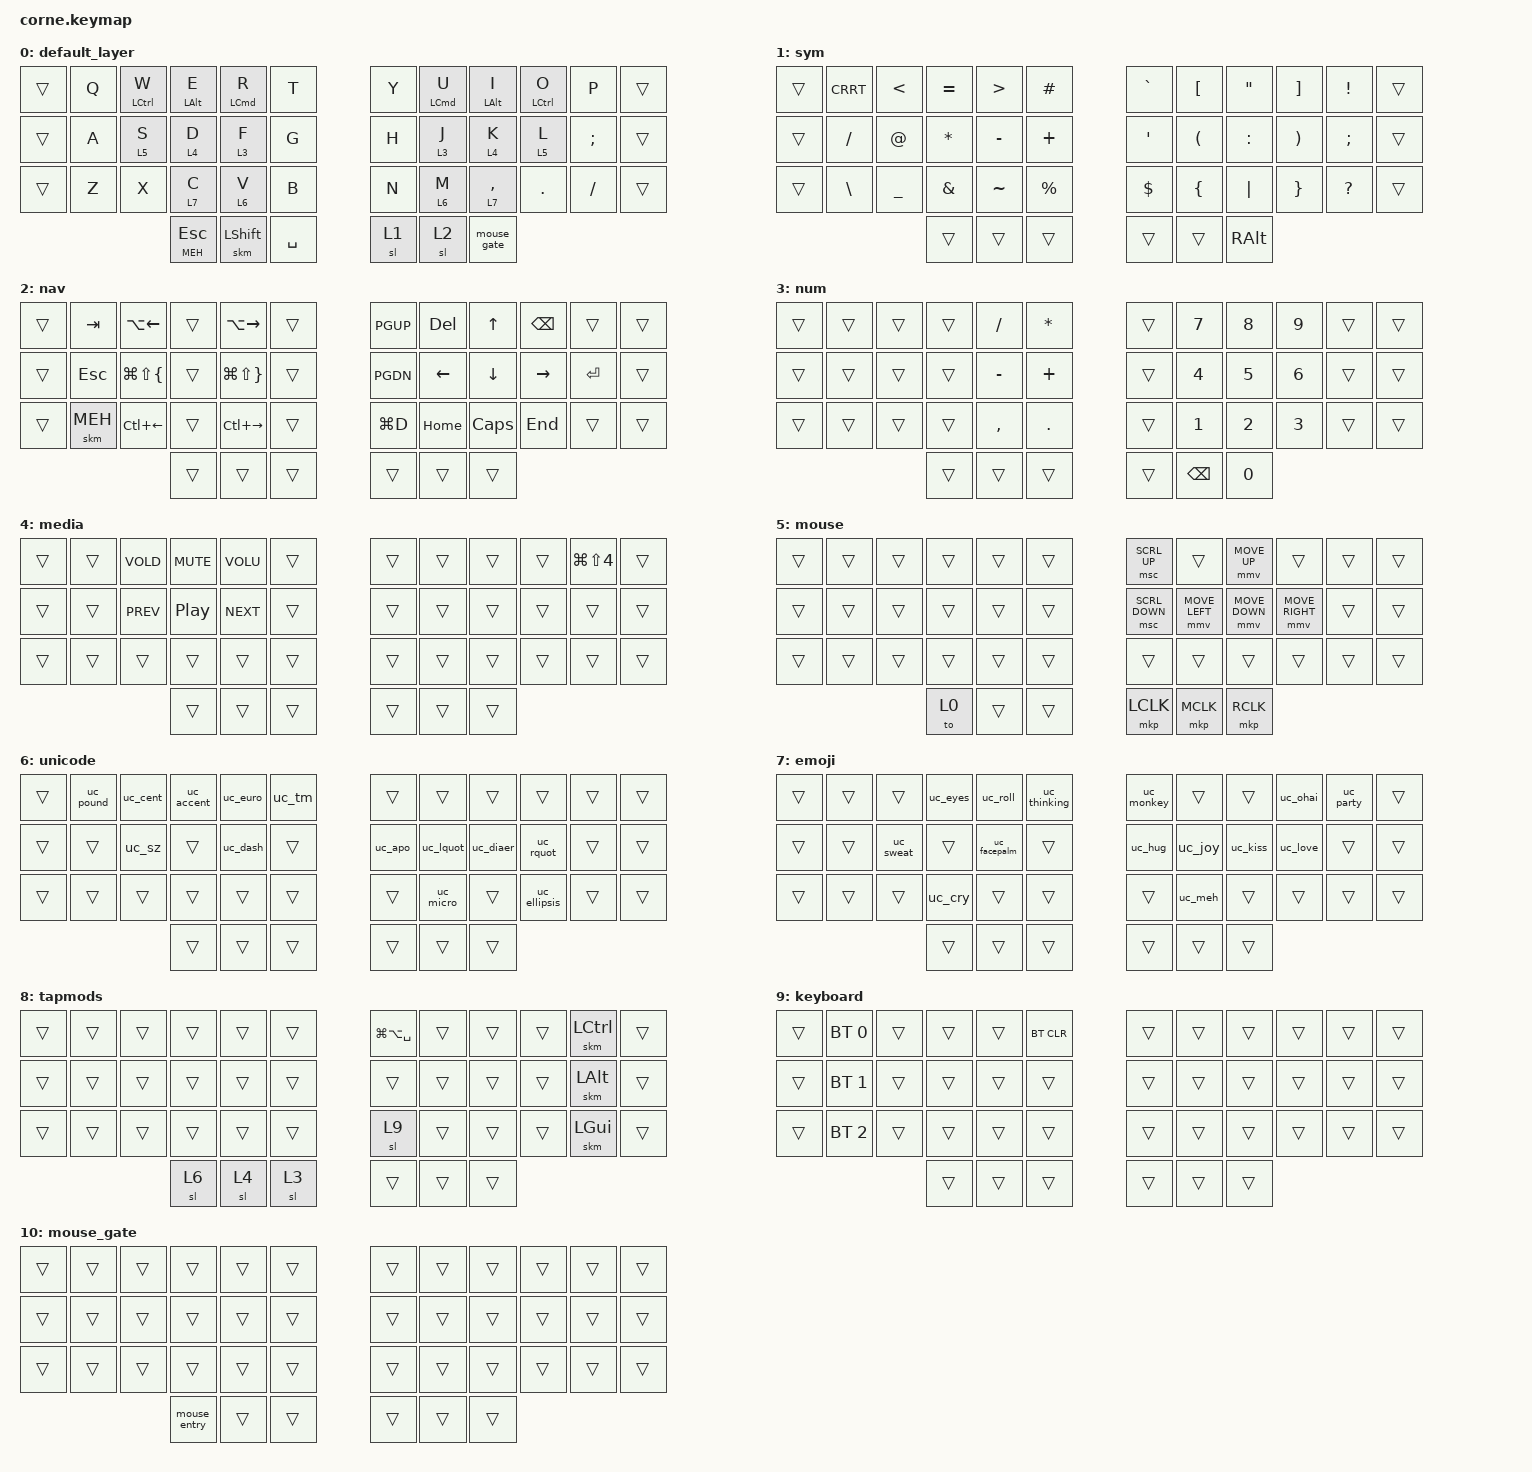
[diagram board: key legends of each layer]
/*
 * Copyright (c) 2020 The ZMK Contributors
 *
 * SPDX-License-Identifier: MIT
 */

#include <behaviors.dtsi>
#include <dt-bindings/zmk/keys.h>
#include <dt-bindings/zmk/bt.h>
#include <dt-bindings/zmk/pointing.h>


#define HYPER (LG(LS(LA(LCTRL))))
#define MEH (LG(LA(LCTRL)))

&sk {
	release-after-ms = <1000>;
	quick-release;
};

/ {
		behaviors {
			rpi: require_prior_idle {
			    compatible = "zmk,behavior-hold-tap";
			    #binding-cells = <2>;
			    flavor = "tap-preferred";
			    tapping-term-ms = <200>;
			    quick-tap-ms = <200>;
			    require-prior-idle-ms = <125>;
			    bindings = <&kp>, <&kp>;
			};
			rpil: layer_tap_custom {
			    compatible = "zmk,behavior-hold-tap";
			    #binding-cells = <2>;
			    flavor = "tap-preferred";
			    tapping-term-ms = <200>;
			    quick-tap-ms = <200>;
			    require-prior-idle-ms = <125>;
			    bindings = <&mo>, <&kp>;
			};
			meh_esc: meh_esc {
			    compatible = "zmk,behavior-hold-tap";
			    #binding-cells = <2>;
			    flavor = "tap-preferred";
			    tapping-term-ms = <200>;
			    quick-tap-ms = <200>;
			    bindings = <&kp>, <&kp>;
			};
			mouse_entry: mouse_entry {
			    compatible = "zmk,behavior-tap-dance";
			    #binding-cells = <0>;
			    tapping-term-ms = <200>;
			    bindings = <&sl 6>, <&to 5>;
			};
			skm: sticky_mods {
			    compatible = "zmk,behavior-sticky-key";
			    #binding-cells = <1>;
			    release-after-ms = <5000>;
			    quick-release;
			    ignore-modifiers;
			    bindings = <&kp>;
			};
		};

		macros {
            mouse_gate: mouse_gate {
                compatible = "zmk,behavior-macro";
                #binding-cells = <0>;
                wait-ms = <0>;
                tap-ms = <0>;
                bindings
                    = <&macro_press &mo 10 &sl 8>
                    , <&macro_pause_for_release>
                    , <&macro_release &mo 10 &sl 8>
                    ;
            };
	        uc_dash: uc_dash {
	            label = "UNICODE_DASH";
	            compatible = "zmk,behavior-macro";
	            #binding-cells = <0>;
	            tap-ms = <0>;
	            wait-ms = <0>;
	            bindings
	                = <&macro_press &kp LALT>
	                , <&macro_tap &kp N2 &kp N0 &kp N1 &kp N4>
	                , <&macro_release &kp LALT>
	                ;
	        };
	        uc_apo: uc_apo {
	            label = "UNICODE_APOSTROPHE";
	            compatible = "zmk,behavior-macro";
	            #binding-cells = <0>;
	            tap-ms = <0>;
	            wait-ms = <0>;
	            bindings
	                = <&macro_press &kp LALT>
	                , <&macro_tap &kp N2 &kp N0 &kp N1 &kp N9>
	                , <&macro_release &kp LALT>
	                ;
	        };
	        uc_lquot: uc_lquot {
	            label = "UNICODE_LEFT_QUOTE";
	            compatible = "zmk,behavior-macro";
	            #binding-cells = <0>;
	            tap-ms = <0>;
	            wait-ms = <0>;
	            bindings
	                = <&macro_press &kp LALT>
	                , <&macro_tap &kp N2 &kp N0 &kp N1 &kp C>
	                , <&macro_release &kp LALT>
	                ;
	        };
	        uc_rquot: uc_rquot {
	            label = "UNICODE_RIGHT_QUOTE";
	            compatible = "zmk,behavior-macro";
	            #binding-cells = <0>;
	            tap-ms = <0>;
	            wait-ms = <0>;
	            bindings
	                = <&macro_press &kp LALT>
	                , <&macro_tap &kp N2 &kp N0 &kp N1 &kp D>
	                , <&macro_release &kp LALT>
	                ;
	        };
	        uc_sz: uc_sz {
	            label = "UNICODE_SZ";
	            compatible = "zmk,behavior-macro";
	            #binding-cells = <0>;
	            tap-ms = <0>;
	            wait-ms = <0>;
	            bindings
	                = <&macro_press &kp LALT>
	                , <&macro_tap &kp N0 &kp N0 &kp D &kp F>
	                , <&macro_release &kp LALT>
	                ;
	        };
	        uc_euro: uc_euro {
	            label = "UNICODE_EURO";
	            compatible = "zmk,behavior-macro";
	            #binding-cells = <0>;
	            tap-ms = <0>;
	            wait-ms = <0>;
	            bindings
	                = <&macro_press &kp LALT>
	                , <&macro_tap &kp N2 &kp N0 &kp A &kp C>
	                , <&macro_release &kp LALT>
	                ;
	        };
	        uc_pound: uc_pound {
	            label = "UNICODE_POUND";
	            compatible = "zmk,behavior-macro";
	            #binding-cells = <0>;
	            tap-ms = <0>;
	            wait-ms = <0>;
	            bindings
	                = <&macro_press &kp LALT>
	                , <&macro_tap &kp N0 &kp N0 &kp A &kp N3>
	                , <&macro_release &kp LALT>
	                ;
	        };
	        uc_tm: uc_tm {
	            label = "UNICODE_TRADEMARK";
	            compatible = "zmk,behavior-macro";
	            #binding-cells = <0>;
	            tap-ms = <0>;
	            wait-ms = <0>;
	            bindings
	                = <&macro_press &kp LALT>
	                , <&macro_tap &kp N2 &kp N1 &kp N2 &kp N2>
	                , <&macro_release &kp LALT>
	                ;
	        };
	        uc_joy: uc_joy {
	            label = "UNICODE_EMOJI_JOY";
	            compatible = "zmk,behavior-macro";
	            #binding-cells = <0>;
	            tap-ms = <0>;
	            wait-ms = <0>;
	            bindings
	                = <&macro_press &kp LALT>
	                , <&macro_tap &kp D &kp N8 &kp N3 &kp D>
	                , <&macro_tap &kp D &kp E &kp N0 &kp N2>
	                , <&macro_release &kp LALT>
	                ;
	        };
	        uc_sweat: uc_sweat {
	            label = "UNICODE_EMOJI_SWEAT";
	            compatible = "zmk,behavior-macro";
	            #binding-cells = <0>;
	            tap-ms = <0>;
	            wait-ms = <0>;
	            bindings
	                = <&macro_press &kp LALT>
	                , <&macro_tap &kp D &kp N8 &kp N3 &kp D>
	                , <&macro_tap &kp D &kp E &kp N0 &kp N5>
	                , <&macro_release &kp LALT>
	                ;
	        };
	        uc_cry: uc_cry {
	            label = "UNICODE_EMOJI_CRY";
	            compatible = "zmk,behavior-macro";
	            #binding-cells = <0>;
	            tap-ms = <0>;
	            wait-ms = <0>;
	            bindings
	                = <&macro_press &kp LALT>
	                , <&macro_tap &kp D &kp N8 &kp N3 &kp D>
	                , <&macro_tap &kp D &kp E &kp N2 &kp D>
	                , <&macro_release &kp LALT>
	                ;
	        };
	        uc_meh: uc_meh {
	            label = "UNICODE_EMOJI_MEH";
	            compatible = "zmk,behavior-macro";
	            #binding-cells = <0>;
	            tap-ms = <0>;
	            wait-ms = <0>;
	            bindings
	                = <&macro_press &kp LALT>
	                , <&macro_tap &kp D &kp N8 &kp N3 &kp E>
	                , <&macro_tap &kp D &kp D &kp N3 &kp N7>
	                , <&macro_release &kp LALT>
	                ;
	        };
	        uc_kiss: uc_kiss {
	            label = "UNICODE_EMOJI_KISS";
	            compatible = "zmk,behavior-macro";
	            #binding-cells = <0>;
	            tap-ms = <0>;
	            wait-ms = <0>;
	            bindings
	                = <&macro_press &kp LALT>
	                , <&macro_tap &kp D &kp N8 &kp N3 &kp D>
	                , <&macro_tap &kp D &kp E &kp N1 &kp N8>
	                , <&macro_release &kp LALT>
	                ;
	        };
	        uc_ohai: uc_ohai {
	            label = "UNICODE_EMOJI_OHAI";
	            compatible = "zmk,behavior-macro";
	            #binding-cells = <0>;
	            tap-ms = <0>;
	            wait-ms = <0>;
	            bindings
	                = <&macro_press &kp LALT>
	                , <&macro_tap &kp D &kp N8 &kp N3 &kp D>
	                , <&macro_tap &kp D &kp E &kp N0 &kp F>
	                , <&macro_release &kp LALT>
	                ;
	        };
	        uc_roll: uc_roll {
	            label = "UNICODE_EMOJI_ROLL";
	            compatible = "zmk,behavior-macro";
	            #binding-cells = <0>;
	            tap-ms = <0>;
	            wait-ms = <0>;
	            bindings
	                = <&macro_press &kp LALT>
	                , <&macro_tap &kp D &kp N8 &kp N3 &kp D>
	                , <&macro_tap &kp D &kp E &kp N4 &kp N4>
	                , <&macro_release &kp LALT>
	                ;
	        };
	        uc_monkey: uc_monkey {
	            label = "UNICODE_EMOJI_MONKEY";
	            compatible = "zmk,behavior-macro";
	            #binding-cells = <0>;
	            tap-ms = <0>;
	            wait-ms = <0>;
	            bindings
	                = <&macro_press &kp LALT>
	                , <&macro_tap &kp D &kp N8 &kp N3 &kp D>
	                , <&macro_tap &kp D &kp E &kp N4 &kp N8>
	                , <&macro_release &kp LALT>
	                ;
	        };
	        uc_eyes: uc_eyes {
	            label = "UNICODE_EMOJI_EYES";
	            compatible = "zmk,behavior-macro";
	            #binding-cells = <0>;
	            tap-ms = <0>;
	            wait-ms = <0>;
	            bindings
	                = <&macro_press &kp LALT>
	                , <&macro_tap &kp D &kp N8 &kp N3 &kp D>
	                , <&macro_tap &kp D &kp C &kp N4 &kp N0>
	                , <&macro_release &kp LALT>
	                ;
	        };
	        uc_thinking: uc_thinking {
	            label = "UNICODE_EMOJI_THINKING";
	            compatible = "zmk,behavior-macro";
	            #binding-cells = <0>;
	            tap-ms = <0>;
	            wait-ms = <0>;
	            bindings
	                = <&macro_press &kp LALT>
	                , <&macro_tap &kp D &kp N8 &kp N3 &kp E>
	                , <&macro_tap &kp D &kp D &kp N1 &kp N4>
	                , <&macro_release &kp LALT>
	                ;
	        };
	        uc_facepalm: uc_facepalm {
	            label = "UNICODE_EMOJI_FACEPALM";
	            compatible = "zmk,behavior-macro";
	            #binding-cells = <0>;
	            tap-ms = <0>;
	            wait-ms = <0>;
	            bindings
	                = <&macro_press &kp LALT>
	                , <&macro_tap &kp D &kp N8 &kp N3 &kp E>
	                , <&macro_tap &kp D &kp D &kp N2 &kp N6>
	                , <&macro_release &kp LALT>
	                ;
	        };
	        uc_hug: uc_hug {
	            label = "UNICODE_EMOJI_HUG";
	            compatible = "zmk,behavior-macro";
	            #binding-cells = <0>;
	            tap-ms = <0>;
	            wait-ms = <0>;
	            bindings
	                = <&macro_press &kp LALT>
	                , <&macro_tap &kp D &kp N8 &kp N3 &kp E>
	                , <&macro_tap &kp D &kp E &kp C &kp N2>
	                , <&macro_release &kp LALT>
	                ;
	        };
	        uc_party: uc_party {
	            label = "UNICODE_EMOJI_PARTY";
	            compatible = "zmk,behavior-macro";
	            #binding-cells = <0>;
	            tap-ms = <0>;
	            wait-ms = <0>;
	            bindings
	                = <&macro_press &kp LALT>
	                , <&macro_tap &kp D &kp N8 &kp N3 &kp C>
	                , <&macro_tap &kp D &kp F &kp N8 &kp N9>
	                , <&macro_release &kp LALT>
	                ;
	        };
	        uc_love: uc_love {
	            label = "UNICODE_EMOJI_LOVE";
	            compatible = "zmk,behavior-macro";
	            #binding-cells = <0>;
	            tap-ms = <0>;
	            wait-ms = <0>;
	            bindings
	                = <&macro_press &kp LALT>
	                , <&macro_tap &kp N2 &kp N7 &kp N6 &kp N4>
	                , <&macro_release &kp LALT>
	                ;
	        };
	        uc_cent: uc_cent {
	            label = "UNICODE_CENT";
	            compatible = "zmk,behavior-macro";
	            #binding-cells = <0>;
	            tap-ms = <0>;
	            wait-ms = <0>;
	            bindings
	                = <&macro_press &kp LALT>
	                , <&macro_tap &kp N0 &kp N0 &kp A &kp N2>
	                , <&macro_release &kp LALT>
	                ;
	        };
	        uc_accent: uc_accent {
	            label = "UNICODE_COMBINING_ACUTE";
	            compatible = "zmk,behavior-macro";
	            #binding-cells = <0>;
	            tap-ms = <0>;
	            wait-ms = <0>;
	            bindings
	                = <&macro_press &kp LALT>
	                , <&macro_tap &kp N0 &kp N3 &kp N0 &kp N1>
	                , <&macro_release &kp LALT>
	                ;
	        };
	        uc_diaer: uc_diaer {
	            label = "UNICODE_COMBINING_DIAERESIS";
	            compatible = "zmk,behavior-macro";
	            #binding-cells = <0>;
	            tap-ms = <0>;
	            wait-ms = <0>;
	            bindings
	                = <&macro_press &kp LALT>
	                , <&macro_tap &kp N0 &kp N3 &kp N0 &kp N8>
	                , <&macro_release &kp LALT>
	                ;
	        };
	        uc_micro: uc_micro {
	            label = "UNICODE_MICRO";
	            compatible = "zmk,behavior-macro";
	            #binding-cells = <0>;
	            tap-ms = <0>;
	            wait-ms = <0>;
	            bindings
	                = <&macro_press &kp LALT>
	                , <&macro_tap &kp N0 &kp N3 &kp B &kp C>
	                , <&macro_release &kp LALT>
	                ;
	        };
	        uc_ellipsis: uc_ellipsis {
	            label = "UNICODE_ELLIPSIS";
	            compatible = "zmk,behavior-macro";
	            #binding-cells = <0>;
	            tap-ms = <0>;
	            wait-ms = <0>;
	            bindings
	                = <&macro_press &kp LALT>
	                , <&macro_tap &kp N2 &kp N0 &kp N2 &kp N6>
	                , <&macro_release &kp LALT>
	                ;
	        };
 	    };
    	

        keymap {
                compatible = "zmk,keymap";

                default_layer {
// -----------------------------------------------------------------------------------------
// |      |  Q  |  W/Ctrl    |  E/Alt    |  R/Cmd    |  T      |   |  Y  | U/Cmd     |  I/Alt      |  O/Ctrl    |  P     |      |
// |      |  A  |  S/L5      |  D/L4     |  F/L3     |  G      |   |  H  | J/L3      |  K/L4       |  L/L5      |  ;     |      |
// |      |  Z  |  X         |  C/L7     |  V/L6     |  B      |   |  N  | M/L6      |  ,/L7       |  .         |  /     |      |
//                           | MEH/ESC   | SHF       | SPC     |   | SYM | NAV       | TAPMOD      |
                        bindings = <
    &trans &kp Q &rpi LCTRL W &rpi LALT E &rpi LCMD R &kp T         &kp Y &rpi LCMD U &rpi LALT I   &rpi LCTRL O &kp P    &trans
    &trans &kp A &rpil 5 S    &rpil 4 D   &rpil 3 F   &kp G         &kp H &rpil 3 J   &rpil 4 K     &rpil 5 L    &kp SEMI &trans
    &trans &kp Z &kp X        &rpil 7 C   &rpil 6 V   &kp B         &kp N &rpil 6 M   &rpil 7 COMMA &kp DOT      &kp FSLH &trans
                              &meh_esc MEH ESC  &skm LSHIFT &kp SPACE     &sl 1 &sl 2       &mouse_gate
                        >;
                };
                sym {
// -----------------------------------------------------------------------------------------
// |      |  ^      |  <      |  =      |  >      |  #      |   |  `       |  [     |  "     |  ]      |  !      |      |
// |      |  /      |  @      |  *      |  -      |  +      |   |  '       |  (     |  :     |  )      |  ;      |      |
// |      |  \      |  _      |  &      |  ~      |  %      |   |  $       |  {     |  |     |  }      |  ?      |      |
//                            |         |         |         |   |          |        |        |
                        bindings = <
   &trans  &kp CRRT  &kp LT    &kp EQUAL &kp GT    &kp HASH       &kp GRAVE &kp LBKT &kp DQT  &kp RBKT  &kp EXCL  &trans
   &trans  &kp SLASH &kp AT    &kp ASTRK &kp MINUS &kp PLUS       &kp SQT   &kp LPAR &kp COLN &kp RPAR  &kp SEMI  &trans
   &trans  &kp BSLH  &kp UNDER &kp AMPS  &kp TILDE &kp PRCNT      &kp DLLR  &kp LBRC &kp PIPE &kp RBRC  &kp QMARK &trans
                               &trans    &trans    &trans         &trans    &trans   &kp RALT
                        >;
                };

                nav {
// -----------------------------------------------------------------------------------------
// |      | TAB     | ALT+LEFT |      | ALT+RIGHT |        |   | PGU    | DEL    | UP     | BSP     |       |      |
// |      | ESC     | CMD+SFT+[|      | CMD+SFT+] |        |   | PGD    | LEFT   | DOWN   | RGHT    | RET   |      |
// |      | HYPER   | CTL+LEFT |      | CTL+RIGHT |        |   | CMD+D  | HOME   | CAPS   | END     |       |      |
  //                           |      |           |        |   |        |        |        |
                        bindings = <
    &trans &kp TAB   &kp LA(LEFT)    &trans  &kp LA(RIGHT)   &trans       &kp PGUP &kp DEL  &kp UP   &kp BSPC  &trans  &trans
    &trans &kp ESC   &kp LG(LS(LBRC)) &trans &kp LG(LS(RBRC)) &trans     &kp PGDN &kp LEFT &kp DOWN &kp RIGHT &kp RET &trans
    &trans &skm MEH  &kp LC(LEFT)    &trans  &kp LC(RIGHT)   &trans       &kp LG(D) &kp HOME &kp CAPS &kp END  &trans  &trans
                                     &trans  &trans           &trans       &trans   &trans   &trans
                        >;
                };

                num {
// -----------------------------------------------------------------------------------------
// |      |       |      |      |   /   |   *    |   |         |   7    |   8    |    9    |       |      |
// |      |       |      |      |   -   |   +    |   |         |   4    |   5    |    6    |       |      |
// |      |       |      |      |   ,   |   .    |   |         |   1    |   2    |    3    |       |      |
//                       |      |       |        |   |         |  BSP   |   0    |
                        bindings = <
    &trans &trans  &trans &trans &kp FSLH &kp ASTRK   &trans    &kp N7   &kp N8   &kp N9    &trans  &trans
    &trans &trans  &trans &trans &kp MINUS &kp PLUS   &trans    &kp N4   &kp N5   &kp N6    &trans  &trans
    &trans &trans  &trans &trans &kp COMMA &kp DOT    &trans    &kp N1   &kp N2   &kp N3    &trans  &trans
                          &trans &trans    &trans      &trans    &kp BSPC &kp N0
                        >;
                };

		        media {
// -----------------------------------------------------------------------------------------
// |      | BT 1       | VOLD     | MUTE     | VOLU     |              |   |              |              |              | SCREENSHOT    |       |      |
// |      | BT 2       | PREV     | PLAY     | NEXT     |              |   |              |              |              |               |       |      |
// |      | BT 3       |          |          |          | BT CLR       |   |              |              |              |               |       |      |
//                                |          |          |              |   |              |              |              |
                        bindings = <
    &trans &trans       &kp VOLD   &kp K_MUTE &kp VOLU   &trans             &trans         &trans         &trans         &trans          &kp LG(LS(N4)) &trans
    &trans &trans       &kp C_PREV &kp C_PP   &kp C_NEXT &trans             &trans         &trans         &trans         &trans          &trans  &trans
    &trans &trans       &trans     &trans     &trans     &trans             &trans         &trans         &trans         &trans          &trans  &trans
                                   &trans     &trans     &trans             &trans         &trans         &trans
                        >;
                };

				mouse {
// -----------------------------------------------------------------------------------------
// |            |       |          |          |          |        |   | W_UP         |              | MUP          |              |       |      |
// |            |       |          |          |          |        |   | W_DOWN       | MLEFT        | MDOWN        | MRIGHT        |       |      |
// |            |       |          |          |          |        |   |              |              |              |               |       |      |
//                                 | BASE     |          |        |   | LCLICK       | MCLICK       | RCLICK       |
                        bindings = <
    &trans       &trans  &trans     &trans     &trans     &trans       &msc SCRL_UP   &trans         &mmv MOVE_UP   &trans          &trans  &trans
    &trans       &trans  &trans     &trans     &trans     &trans       &msc SCRL_DOWN &mmv MOVE_LEFT &mmv MOVE_DOWN &mmv MOVE_RIGHT &trans  &trans
    &trans       &trans  &trans     &trans     &trans     &trans       &trans         &trans         &trans         &trans          &trans  &trans
                                    &to 0      &trans     &trans       &mkp LCLK      &mkp MCLK      &mkp RCLK
                        >;
                };

				unicode {
// -----------------------------------------------------------------------------------------
// |            | pound   | cent     | accent   | euro     | tm     |   |              |              |              |               |       |      |
// |            |         |   sz     |          | em dash  |        |   |   apo        |  l quot      | diaeresis    | r quot        |       |      |
// |            |         |          |          |          |        |   |              |  micro       |              | ellipsis      |       |      |
//                                   |          |          |        |   |              |              |              |
                        bindings = <
    &trans       &uc_pound &uc_cent   &uc_accent &uc_euro   &uc_tm       &trans         &trans         &trans         &trans           &trans  &trans
    &trans       &trans    &uc_sz     &trans     &uc_dash   &trans       &uc_apo        &uc_lquot      &uc_diaer      &uc_rquot        &trans  &trans
    &trans       &trans    &trans     &trans     &trans     &trans       &trans         &uc_micro      &trans         &uc_ellipsis     &trans  &trans
                                      &trans     &trans     &trans       &trans         &trans         &trans
                        >;
                };

				emoji {
// -----------------------------------------------------------------------------------------
// |            |         |          |  eyes    | roll       | think  |   | monkey       |              |              | ohai          | party    |      |
// |            |         | sweat    |          | facpalm    |        |   | hug          | joy          | kiss         | love          |          |      |
// |            |         |          |  cry     |            |        |   |              | meh          |              |               |          |      |
//                                   |          |            |        |   |              |              |              |
                        bindings = <
    &trans       &trans    &trans     &uc_eyes   &uc_roll     &uc_thinking &uc_monkey     &trans         &trans         &uc_ohai         &uc_party &trans
    &trans       &trans    &uc_sweat  &trans     &uc_facepalm &trans       &uc_hug        &uc_joy        &uc_kiss       &uc_love         &trans    &trans
    &trans       &trans    &trans     &uc_cry    &trans       &trans       &trans         &uc_meh        &trans         &trans           &trans    &trans
                                      &trans     &trans       &trans       &trans         &trans         &trans
                        >;
                };

                tapmods {
// -----------------------------------------------------------------------------------------
// |      |       |      |      |      |        |   |        |        |        |         | Ctrl  |      |
// |      |       |      |      |      |        |   |        |        |        |         | Alt   |      |
// |      |       |      |      |      |        |   | KBD    |        |        |         | Super |      |
//                       |  UC  | MEDIA |  NUM   |   |        |        |        |
                        bindings = <
    &trans       &trans       &trans &trans &trans &trans       &kp LG(LA(SPACE)) &trans    &trans    &trans    &skm LCTRL &trans
    &trans       &trans       &trans &trans &trans &trans       &trans    &trans    &trans    &trans    &skm LALT  &trans
    &trans       &trans       &trans &trans &trans &trans       &sl 9     &trans    &trans    &trans    &skm LGUI  &trans
                 &sl 6        &sl 4  &sl 3                          &trans    &trans    &trans
                        >;
                };

                keyboard {
// -----------------------------------------------------------------------------------------
// |      | BT1   |      |      |      | BT CLR |   |        |        |        |         |       |      |
// |      | BT2   |      |      |      |        |   |        |        |        |         |       |      |
// |      | BT3   |      |      |      |        |   |        |        |        |         |       |      |
//                       |      |       |       |   |        |        |        |
                        bindings = <
    &trans       &bt BT_SEL 0 &trans &trans &trans &bt BT_CLR   &trans    &trans    &trans    &trans    &trans &trans
    &trans       &bt BT_SEL 1 &trans &trans &trans &trans       &trans    &trans    &trans    &trans    &trans &trans
    &trans       &bt BT_SEL 2 &trans &trans &trans &trans       &trans    &trans    &trans    &trans    &trans &trans
                 &trans       &trans  &trans                         &trans    &trans    &trans
                        >;
                };

                mouse_gate {
                        bindings = <
    &trans &trans &trans &trans &trans &trans       &trans &trans &trans &trans &trans &trans
    &trans &trans &trans &trans &trans &trans       &trans &trans &trans &trans &trans &trans
    &trans &trans &trans &trans &trans &trans       &trans &trans &trans &trans &trans &trans
                                    &mouse_entry &trans &trans       &trans &trans &trans
                        >;
                };

// 				template {
// // -----------------------------------------------------------------------------------------
// // |            |         |          |          |          |        |   |              |              |              |               |       |      |
// // |            |         |          |          |          |        |   |              |              |              |               |       |      |
// // |            |         |          |          |          |        |   |              |              |              |               |       |      |
// //                                   |          |          |        |   |              |              |              |
//                         bindings = <
//     &trans       &trans    &trans     &trans     &trans     &trans       &trans         &trans         &trans         &trans           &trans  &trans
//     &trans       &trans    &trans     &trans     &trans     &trans       &trans         &trans         &trans         &trans           &trans  &trans
//     &trans       &trans    &trans     &trans     &trans     &trans       &trans         &trans         &trans         &trans           &trans  &trans
//                                       &trans     &trans     &trans       &trans         &trans         &trans
//                         >;
//                 };
        };
};

